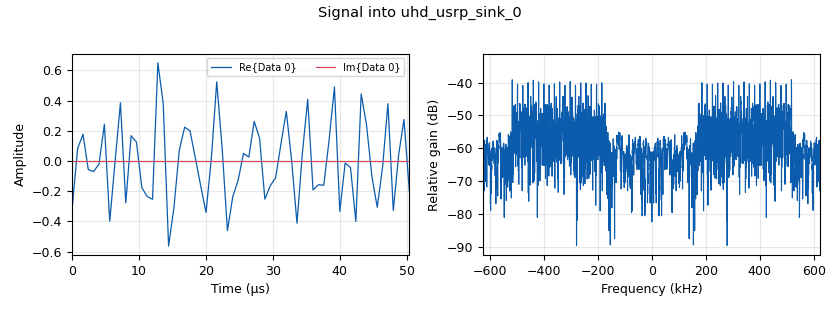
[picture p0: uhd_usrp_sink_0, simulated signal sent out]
options:
  parameters:
    author: keremenhos
    generate_options: qt_gui
    id: OFDM_1
    output_language: python
    title: OFDM_1
  states: {}

blocks:
- name: Data
  id: variable
  parameters:
    value: numpy.array(numpy.random.randint(M,size=(data_sc//2)*spf))
  states: {}
- name: M
  id: variable
  parameters:
    value: '16'
  states: {}
- name: P
  id: variable_qtgui_check_box
  parameters:
    'false': '0'
    label: Print BER
    'true': '1'
    type: int
    value: '0'
  states: {}
- name: TX_GAIN
  id: variable_qtgui_range
  parameters:
    orient: Qt.Horizontal
    start: '1'
    step: '1'
    stop: '100'
    value: '34'
  states: {}
- name: corr_thresh
  id: variable_qtgui_range
  parameters:
    orient: Qt.Horizontal
    start: '0.01'
    step: '0.005'
    stop: '0.1'
    value: '0.04'
  states: {}
- name: data_sc
  id: variable
  parameters:
    value: '36'
  states: {}
- name: dsc
  id: variable
  parameters:
    value: numpy.sort(list(pdsc*-1) + list(pdsc))
  states: {}
- name: fft_len
  id: variable
  parameters:
    value: '128'
  states: {}
- name: guard
  id: variable
  parameters:
    value: fft_len-null-data_sc-pilot_sc
  states: {}
- name: noise
  id: variable_qtgui_range
  parameters:
    gui_hint: 2,2,1,2
    label: Noise Power
    orient: Qt.Horizontal
    start: '-30'
    step: '0.5'
    stop: '10'
    value: '-30'
  states: {state: disabled}
- name: 'null'
  id: variable
  parameters:
    value: '35'
  states: {}
- name: pck_len
  id: variable
  parameters:
    value: '4096'
  states: {}
- name: pdsc
  id: variable
  parameters:
    value: |
      numpy.delete((numpy.arange((data_sc+pilot_sc)//2)+1+(null//2)),((numpy.arange((data_sc+pilot_sc)//2)+1+(null//2))[:, None] == ppsc).argmax(axis=0))
  states: {}
- name: pilot_sc
  id: variable
  parameters:
    value: '36'
  states: {}
- name: pilot_symbols
  id: variable
  parameters:
    value: numpy.array(numpy.random.randint(2,size=pilot_sc//2))*2 -1
  states: {}
- name: ppsc
  id: variable
  parameters:
    value: numpy.arange(-1*((data_sc+pilot_sc)//(pilot_sc*2)),((data_sc+pilot_sc)/2),((data_sc+pilot_sc)/pilot_sc))[numpy.arange(-1*((data_sc+pilot_sc)//(pilot_sc*2)),((data_sc+pilot_sc)/2),((data_sc+pilot_sc)/pilot_sc))>0].astype(int)+1+(null//2)
  states: {}
- name: ps
  id: variable
  parameters:
    value: list(numpy.flip(pilot_symbols)) + list(pilot_symbols)
  states: {}
- name: psc
  id: variable
  parameters:
    value: numpy.sort(list(ppsc*-1) + list(ppsc))
  states: {}
- name: samp_rate
  id: variable
  parameters:
    value: '1250000'
  states: {}
- name: spf
  id: variable
  parameters:
    value: (pck_len-510)//fft_len
  states: {}
- name: blocks_complex_to_float_1
  id: blocks_complex_to_float
  parameters: {}
  states: {}
- name: blocks_complex_to_mag_squared_0
  id: blocks_complex_to_mag_squared
  parameters: {}
  states: {state: disabled}
- name: blocks_float_to_complex_0
  id: blocks_float_to_complex
  parameters: {}
  states: {}
- name: blocks_float_to_complex_1
  id: blocks_float_to_complex
  parameters: {}
  states: {}
- name: blocks_keep_m_in_n_1
  id: blocks_keep_m_in_n
  parameters:
    m: fft_len*spf
    n: pck_len
    offset: '1'
    type: float
  states: {}
- name: blocks_multiply_const_vxx_0
  id: blocks_multiply_const_vxx
  parameters:
    const: 1/TX_GAIN
    type: complex
  states: {}
- name: blocks_stream_to_tagged_stream_0
  id: blocks_stream_to_tagged_stream
  parameters:
    len_tag_key: packet_len
    packet_len: '510'
    type: float
  states: {}
- name: blocks_stream_to_tagged_stream_0_0_0_0_0_0
  id: blocks_stream_to_tagged_stream
  parameters:
    len_tag_key: '"frame_len"'
    packet_len: data_sc
    type: complex
  states: {}
- name: blocks_stream_to_tagged_stream_1
  id: blocks_stream_to_tagged_stream
  parameters:
    len_tag_key: '"packet_len"'
    packet_len: fft_len*spf
    type: complex
  states: {}
- name: blocks_stream_to_tagged_stream_3
  id: blocks_stream_to_tagged_stream
  parameters:
    len_tag_key: sym
    packet_len: '1'
    type: complex
    vlen: fft_len
  states: {}
- name: blocks_stream_to_vector_0_0
  id: blocks_stream_to_vector
  parameters:
    num_items: fft_len
    type: complex
  states: {}
- name: blocks_tag_gate_0
  id: blocks_tag_gate
  parameters:
    propagate_tags: 'False'
    type: float
  states: {}
- name: blocks_tag_gate_1
  id: blocks_tag_gate
  parameters:
    propagate_tags: 'False'
    single_key: '"sym"'
    type: complex
  states: {}
- name: blocks_tagged_stream_mux_1
  id: blocks_tagged_stream_mux
  parameters:
    lengthtagname: packet_len
    ninputs: '2'
    type: complex
  states: {}
- name: blocks_vector_source_x_0_1
  id: blocks_vector_source_x
  parameters:
    repeat: 'True'
    type: float
    vector: '[-1,-1,-1,-1,-1,-1,-1,-1,1,-1,-1,-1,1,-1,-1,-1,1,1,-1,-1,1,-1,-1,-1,1,1,1,-1,1,-1,1,-1,1,1,-1,1,1,-1,-1,-1,1,1,1,-1,-1,-1,1,-1,-1,1,-1,1,-1,1,-1,-1,-1,1,1,-1,1,1,-1,-1,1,1,1,1,1,-1,-1,1,1,1,1,-1,-1,-1,1,-1,1,1,-1,1,1,1,-1,-1,1,-1,1,-1,-1,1,-1,-1,-1,-1,-1,1,-1,-1,1,1,-1,-1,1,1,1,-1,1,-1,-1,-1,1,1,1,1,1,-1,1,1,1,1,-1,-1,-1,-1,-1,1,1,1,1,1,1,1,1,1,-1,-1,-1,-1,1,1,1,1,-1,1,1,1,-1,-1,-1,-1,1,-1,1,1,-1,-1,1,1,-1,1,1,-1,1,1,1,1,-1,1,-1,-1,-1,-1,1,1,1,-1,-1,1,1,-1,-1,-1,-1,1,-1,-1,1,-1,-1,-1,1,-1,1,-1,1,1,1,-1,1,-1,1,1,1,1,-1,-1,1,-1,-1,1,-1,1,1,1,-1,-1,1,1,1,-1,-1,-1,-1,-1,-1,1,1,1,-1,1,1,1,-1,1,-1,-1,1,1,1,1,-1,1,-1,1,-1,-1,1,-1,1,-1,-1,-1,-1,-1,-1,1,-1,1,-1,1,-1,1,-1,1,1,1,1,1,-1,1,-1,1,1,-1,1,-1,-1,-1,-1,-1,1,1,-1,1,1,1,-1,1,1,-1,1,1,-1,1,-1,1,1,-1,-1,-1,-1,-1,1,-1,1,1,1,-1,1,1,1,1,1,-1,-1,-1,1,1,1,1,-1,-1,1,1,-1,1,-1,-1,1,1,-1,1,-1,1,1,1,-1,-1,-1,1,1,-1,1,-1,-1,-1,1,-1,1,1,1,1,1,1,1,-1,1,-1,-1,1,-1,1,1,-1,-1,-1,1,-1,1,-1,-1,1,1,-1,-1,-1,1,1,-1,-1,-1,-1,-1,-1,-1,1,1,-1,-1,1,1,-1,-1,1,-1,1,-1,1,1,-1,-1,1,-1,-1,1,1,1,1,1,1,-1,1,1,-1,1,-1,-1,1,-1,-1,1,-1,-1,1,1,-1,1,1,1,1,1,1,-1,-1,1,-1,1,1,-1,1,-1,1,-1,-1,-1,-1,1,-1,1,-1,-1,-1,1,-1,-1,1,1,1,-1,1,1,-1,-1,1,-1,1,1,1,1,-1,1,1,-1,-1,-1,-1,1,1,-1,1,-1,1,-1,1,-1,-1,1,1,1,-1,-1,1,-1,-1,-1,-1,1,1,-1,-1,-1,1,-1,-1,-1,-1]'
  states: {}
- name: blocks_vector_to_stream_0
  id: blocks_vector_to_stream
  parameters:
    num_items: fft_len
    type: complex
  states: {}
- name: blocks_vector_to_stream_0_0
  id: blocks_vector_to_stream
  parameters:
    num_items: fft_len
    type: complex
  states: {}
- name: digital_corr_est_cc_0
  id: digital_corr_est_cc
  parameters:
    mark_delay: '509'
    sps: '1'
    symbols: '[-1,-1,-1,-1,-1,-1,-1,-1,1,-1,-1,-1,1,-1,-1,-1,1,1,-1,-1,1,-1,-1,-1,1,1,1,-1,1,-1,1,-1,1,1,-1,1,1,-1,-1,-1,1,1,1,-1,-1,-1,1,-1,-1,1,-1,1,-1,1,-1,-1,-1,1,1,-1,1,1,-1,-1,1,1,1,1,1,-1,-1,1,1,1,1,-1,-1,-1,1,-1,1,1,-1,1,1,1,-1,-1,1,-1,1,-1,-1,1,-1,-1,-1,-1,-1,1,-1,-1,1,1,-1,-1,1,1,1,-1,1,-1,-1,-1,1,1,1,1,1,-1,1,1,1,1,-1,-1,-1,-1,-1,1,1,1,1,1,1,1,1,1,-1,-1,-1,-1,1,1,1,1,-1,1,1,1,-1,-1,-1,-1,1,-1,1,1,-1,-1,1,1,-1,1,1,-1,1,1,1,1,-1,1,-1,-1,-1,-1,1,1,1,-1,-1,1,1,-1,-1,-1,-1,1,-1,-1,1,-1,-1,-1,1,-1,1,-1,1,1,1,-1,1,-1,1,1,1,1,-1,-1,1,-1,-1,1,-1,1,1,1,-1,-1,1,1,1,-1,-1,-1,-1,-1,-1,1,1,1,-1,1,1,1,-1,1,-1,-1,1,1,1,1,-1,1,-1,1,-1,-1,1,-1,1,-1,-1,-1,-1,-1,-1,1,-1,1,-1,1,-1,1,-1,1,1,1,1,1,-1,1,-1,1,1,-1,1,-1,-1,-1,-1,-1,1,1,-1,1,1,1,-1,1,1,-1,1,1,-1,1,-1,1,1,-1,-1,-1,-1,-1,1,-1,1,1,1,-1,1,1,1,1,1,-1,-1,-1,1,1,1,1,-1,-1,1,1,-1,1,-1,-1,1,1,-1,1,-1,1,1,1,-1,-1,-1,1,1,-1,1,-1,-1,-1,1,-1,1,1,1,1,1,1,1,-1,1,-1,-1,1,-1,1,1,-1,-1,-1,1,-1,1,-1,-1,1,1,-1,-1,-1,1,1,-1,-1,-1,-1,-1,-1,-1,1,1,-1,-1,1,1,-1,-1,1,-1,1,-1,1,1,-1,-1,1,-1,-1,1,1,1,1,1,1,-1,1,1,-1,1,-1,-1,1,-1,-1,1,-1,-1,1,1,-1,1,1,1,1,1,1,-1,-1,1,-1,1,1,-1,1,-1,1,-1,-1,-1,-1,1,-1,1,-1,-1,-1,1,-1,-1,1,1,1,-1,1,1,-1,-1,1,-1,1,1,1,1,-1,1,1,-1,-1,-1,-1,1,1,-1,1,-1,1,-1,1,-1,-1,1,1,1,-1,-1,1,-1,-1,-1,-1,1,1,-1,-1,-1,1,-1,-1,-1,-1]'
    threshold: corr_thresh
    threshold_method: digital.THRESHOLD_ABSOLUTE
  states: {}
- name: digital_ofdm_carrier_allocator_cvc_0
  id: digital_ofdm_carrier_allocator_cvc
  parameters:
    fft_len: fft_len
    len_tag_key: '"frame_len"'
    occupied_carriers: ((dsc) ,)
    output_is_shifted: 'True'
    pilot_carriers: ((psc),)
    pilot_symbols: ((ps),)
    sync_words: '[]'
  states: {}
- name: epy_block_0
  id: epy_block
  parameters:
    M: M
    _source_code: |
      """
      Embedded Python Blocks:

      Each time this file is saved, GRC will instantiate the first class it finds
      to get ports and parameters of your block. The arguments to __init__  will
      be the parameters. All of them are required to have default values!
      """

      import numpy as np
      import time
      from gnuradio import gr


      class blk(gr.sync_block):  # other base classes are basic_block, decim_block, interp_block
          """Embedded Python Block example - a simple multiply const"""

          def __init__(self, data=[], M=4, data_subcarrier=1, pilot_subcarrier=1, null_subcarrier=1, guard_subcarrier = 1, fft_size = 64, pilot_symbols=[], spf = 1):  # only default arguments here
              """arguments to this function show up as parameters in GRC"""
              gr.sync_block.__init__(
                  self,
                  name='OFDM Frame Generator',   # will show up in GRC
                  in_sig=[],
                  out_sig=[np.complex64]
              )
              self.M = M
              self.c = 0
              self.data = data
              self.data_subcarrier = data_subcarrier
              self.pilot_subcarrier = pilot_subcarrier
              self.null_subcarrier = null_subcarrier
              self.guard_subcarrier = guard_subcarrier
              self.fft_size = fft_size
              self.l = (len(self.data)//((self.data_subcarrier)/2))-1
              self.d = ((self.data_subcarrier+self.pilot_subcarrier)//2)
              self.data_buf = np.zeros(len(self.data), dtype=complex)
              self.pilot_symbols = pilot_symbols
              self.out_buf = np.zeros(len(self.data)*2, dtype=complex)
              self.spf = spf
              self.flg = 0
              self.data2 = self.data
              
          def modulat(self, MO):
              if MO == 2:
                  cons = np.array([-1+0*1j,1+0*1j])
              else:
                  n = np.arange(0,MO)
                  a = np.asarray([x^(x>>1) for x in n])
                  D = np.sqrt(MO).astype(int)
                  a = np.reshape(a,(D,D))
                  a[1::2, :] = a[1::2, ::-1]
                  nGray=np.reshape(a,(MO))
                  x1 = nGray//D
                  y = nGray%D
                  Ay=2*y+1-D
                  Ax=2*x1+1-D
                  cons = Ax+1j*Ay
                  cons = cons/np.max(np.absolute((np.real(cons))))
              return cons

          def work(self, input_items, output_items):
              
              out = output_items[0]
              
              if self.flg == 0:
                  self.flg = 1
                  self.cons = self.modulat(self.M)
                  if len(out)<len(self.data):
                      self.flg = 0
                      print('22222-0000')
                      return 0
                  for x in range(len(self.data)):
                      self.data_buf[x] = self.cons[self.data[x]]
                  for z in range(self.spf*(self.data_subcarrier//2)):
                      self.out_buf[z*self.data_subcarrier:(z+1)*self.data_subcarrier] = list(np.conj(np.flip(self.data_buf[z*self.data_subcarrier//2:(z+1)*self.data_subcarrier//2]))) + list(self.data_buf[z*self.data_subcarrier//2:(z+1)*self.data_subcarrier//2])
      #            print('1111')
      #            print(len(out))
               
              if np.sum(self.data2-self.data) != 0:
                  self.data2 = self.data
                  if len(out)<len(self.data):
                      print('22222')
                      return 0
                  self.data2 = self.data
                  for x in range(len(self.data)):
                      self.data_buf[x] = self.cons[self.data[x]]
                  for z in range(self.spf*(self.data_subcarrier//2)):
                      self.out_buf[z*self.data_subcarrier:(z+1)*self.data_subcarrier] = list(np.conj(np.flip(self.data_buf[z*self.data_subcarrier//2:(z+1)*self.data_subcarrier//2]))) + list(self.data_buf[z*self.data_subcarrier//2:(z+1)*self.data_subcarrier//2])
                  print(self.data2-self.data)
                      

              out[:(len(out)//len(self.out_buf))*len(self.out_buf)] = list(self.out_buf)*(len(out)//len(self.out_buf))
              return (len(out)//len(self.out_buf))*len(self.out_buf)
    data: Data
    data_subcarrier: data_sc
    fft_size: fft_len
    guard_subcarrier: guard
    null_subcarrier: 'null'
    pilot_subcarrier: pilot_sc
    pilot_symbols: pilot_symbols
    spf: spf
  states: {}
- name: epy_block_1
  id: epy_block
  parameters:
    _source_code: |
      import time
      import random
      import numpy as np

      from gnuradio import gr
      from gnuradio import gr_unittest
      from gnuradio import digital
      from gnuradio import blocks
      from gnuradio import grc
      import pmt
      import inspect

      class blk(gr.basic_block):
          def __init__(self, frame_length=1):
              
              gr.basic_block.__init__(
                  self,
                  name="Preamble Demux",
                  in_sig=[np.float32],
                  out_sig=[np.float32]
              )
              self.a = 0
              self.aa = 0
              self.buf = []
              self.off = 0
              self.det = 0
              self.flg2 = 0
              self.b = 0
              self.frame_length = frame_length
              
          def forecast(self, noutput_items, ninput_items_required):
              #setup size of input_items[i] for work call
              for i in range(len(ninput_items_required)):
                  ninput_items_required[i] = 4096
                  
          def general_work(self, input_items, output_items):
              in0 = input_items[0]
              out = output_items[0]
              
              if self.det == 0:
                  tags = self.get_tags_in_window(0, 0, len(in0))
                  for tag in tags:
                      offset = tag.offset
                      key = pmt.to_python(tag.key) # convert from PMT to python string
                      if key == 'corr_est':
                          self.off = offset
                          self.det = 1
                          self.flg2 = 0
                          self.buf.extend(in0[(self.off-self.aa)+1:])
                          break
                  if self.det == 0:
                      self.b = 0
                          
              if len(self.buf)<self.frame_length and self.det == 1 and self.flg2 == 1:
                  self.buf.extend(in0)
              
              if len(self.buf)>=self.frame_length and self.det == 1 and len(out)>=self.frame_length:
                  out[:self.frame_length] = self.buf[:self.frame_length]
                  if len(self.buf) == self.frame_length:
                      self.buf = []
                      self.det = 0
                      self.b = 1
                  else:
                      tags = self.get_tags_in_window(0, 0, len(in0))
                      for tag in tags:
                          self.offset2 = tag.offset
                          key = pmt.to_python(tag.key) # convert from PMT to python string
                          if key == 'corr_est':
                              if self.offset2 == self.off:
                                  self.buf = []
                                  self.det = 0
                                  self.b = 1
                                  break
                              else:
                                  self.off = self.offset2
                                  self.det = 1
                                  self.flg2 = 0
                                  self.buf=[]
                                  self.buf.extend(in0[(self.off-self.aa)+1:])
                                  self.b = 1
                                  break

              self.flg2 = 1
              self.aa = self.aa + len(in0)
              
              self.consume(0, len(in0)) #consume port 0 input
              
              if self.b == 0:
                  return 0
              else:
                  return self.frame_length
    frame_length: pck_len
  states: {}
- name: epy_block_2
  id: epy_block
  parameters:
    M: M
    _source_code: |
      """
      Embedded Python Blocks:

      Each time this file is saved, GRC will instantiate the first class it finds
      to get ports and parameters of your block. The arguments to __init__  will
      be the parameters. All of them are required to have default values!
      """

      import time
      import random
      import numpy as np

      from gnuradio import gr
      from gnuradio import gr_unittest
      from gnuradio import digital
      from gnuradio import blocks
      from gnuradio import grc
      from scipy import interpolate
      import pmt
      import inspect


      class blk(gr.basic_block):  # other base classes are basic_block, decim_block, interp_block
          """Embedded Python Block example - a simple multiply const"""

          def __init__(self, M=4, data_subcarrier=1, pilot_subcarrier=1, null_subcarrier=1, guard_subcarrier = 1, fft_size = 64, pilot_symbols=[], symbols_per_frame=1):  # only default arguments here
              """arguments to this function show up as parameters in GRC"""
              gr.basic_block.__init__(
                  self,
                  name='OFDM Receiver',   # will show up in GRC
                  in_sig=[np.complex64],
                  out_sig=[np.complex64]
              )
              # if an attribute with the same name as a parameter is found,
              # a callback is registered (properties work, too).
              self.M = M
              self.data_sc = data_subcarrier
              self.pilot_sc = pilot_subcarrier
              self.null_sc = null_subcarrier
              self.guard_sc = guard_subcarrier
              self.ffts = fft_size
              self.pilot_sym = pilot_symbols
              self.aa = 0
              self.out_buf = []
              self.data_out_buf = []
              self.sym_n = 0
              self.spf = symbols_per_frame
              self.flg = 0
              self.flg2 = 0
              self.xxx = 0
      #        self.n_sc = (self.data_sc+self.pilot_sc)/2
              self.n_grd = self.guard_sc//2

          def forecast(self, noutput_items, ninput_items_required):
              #setup size of input_items[i] for work call
              for i in range(len(ninput_items_required)):
                  ninput_items_required[i] = 4096
                  
          def pilot_generator(self, psc, pd):
              pp = np.zeros(psc, dtype=complex)
              for i in range(psc):
                  if pd[i] == 1:
                      pp[i] = 1+0*1j
                  else:
                      pp[i] = -1+0*1j
              return pp

          def general_work(self, input_items, output_items):

              in0 = input_items[0][:]
              out = output_items[0][:]
              
              if self.flg2 == 0:
                  self.ppos = np.arange(-1*((self.data_sc+self.pilot_sc)//(self.pilot_sc*2)),((self.data_sc+self.pilot_sc)/2),((self.data_sc+self.pilot_sc)/self.pilot_sc))
                  self.ppos = self.ppos[self.ppos>0].astype(int)
                  self.pilots = self.pilot_generator(self.pilot_sc//2, self.pilot_sym)
                  self.tx_pilot = np.concatenate((np.flip(self.pilots),self.pilots),axis=None)
                  
                  self.alli = np.array(range(self.ffts))
                  self.sc_ind = np.arange((self.n_grd+1),(self.ffts-self.n_grd))
                  self.sc_ind = np.delete(self.sc_ind,(self.sc_ind[:, None] == (np.arange(-self.null_sc//2,self.null_sc//2)+(self.ffts/2)+1)).argmax(axis=0))
                  self.sc_ind[:(np.where(self.sc_ind==((self.ffts/2)-(self.null_sc//2)-1))[0][0])+1]=np.flipud(self.sc_ind[:(np.where(self.sc_ind==((self.ffts/2)-(self.null_sc//2)-1))[0][0])+1])
                  self.alli[:(np.where(self.alli==((self.ffts/2)-1))[0][0])+1]=np.flipud(self.alli[:(np.where(self.alli==((self.ffts/2)-1))[0][0])+1])
                  self.p_ind = np.sort(np.concatenate((self.alli[self.ppos+(self.null_sc//2)],self.alli[((self.ffts//2)+(self.null_sc//2)+1+self.ppos)]),axis=None))
                  self.s_sc_ind = np.sort(self.sc_ind)
                  self.dsc_ind = np.delete(self.s_sc_ind,(self.s_sc_ind[:, None] == self.p_ind).argmax(axis=0))
                  self.flg2 = 1
                  ppp=np.where(self.sc_ind>=self.ffts//2)[0]
                  self.dsc_iii = np.delete(ppp,(ppp[:,None]==(self.ppos+((self.data_sc+self.pilot_sc)//2))).argmax(axis=0))
              
              tags = self.get_tags_in_window(0, 0, len(in0))
              for tag in tags:
                  offset = tag.offset
                  key = pmt.to_python(tag.key) # convert from PMT to python string
                  if key == 'sym':
                      self.offset = offset
                      self.xx = self.p_ind + self.offset - self.aa
      #                if self.xxx == 0:
      #                    print(self.xx)
                      self.ch_est = np.true_divide(in0[self.xx.astype(int)],self.tx_pilot)
                      
                      self.ch_est_r = np.real(self.ch_est)
                      self.ch_est_i = np.imag(self.ch_est)
                      
      #                f_r = interpolate.splrep(self.p_ind,self.ch_est_r,s=0)
      #                f_i = interpolate.splrep(self.p_ind,self.ch_est_i,s=0)
      #                H_r = interpolate.splev((self.s_sc_ind),f_r,der=0)
      #                H_i = interpolate.splev((self.s_sc_ind),f_i,der=0)

                      f_r = interpolate.splrep(self.p_ind,self.ch_est_r,s=0)
                      f_i = interpolate.splrep(self.p_ind,self.ch_est_i,s=0)
                      H_r = interpolate.splev(np.sort(self.alli),f_r,der=0)
                      H_i = interpolate.splev(np.sort(self.alli),f_i,der=0)
                      H = H_r + H_i*1j
                      
      #                f_r = interpolate.interp1d(self.p_ind, self.ch_est_r, kind = 'slinear')
      #                f_i = interpolate.interp1d(self.p_ind, self.ch_est_i, kind = 'slinear')
      #                H_r = f_r(self.s_sc_ind)
      #                H_i = f_i(self.s_sc_ind)
      #                self.H = H_r + H_i*1j

                      if sum(H_r) != 0:
      #                    self.indind = self.s_sc_ind + (self.offset-self.aa)
      #                    self.sym_out = np.multiply(np.multiply((np.multiply(np.conj(self.H),self.H)**(-1)),np.conj(self.H)),in0[self.indind])
      #                    self.data_out_buf.extend(self.sym_out[self.dsc_iii])
                       
                          self.sym_out = np.multiply(np.multiply((np.multiply(np.conj(H),H)**(-1)),np.conj(H)),in0[(self.offset-self.aa):(self.offset-self.aa)+self.ffts])
                          self.out_buf.extend(self.sym_out)
                          self.data_out_buf.extend(self.sym_out[self.dsc_ind[(self.data_sc//2):].astype(int)])
                          
                          self.sym_n += 1
                          if self.flg == 0:
                              self.flg = 1
                              self.index1 = self.offset
                              self.cind = 0
      #                        self.add_item_tag(0, (self.index1), pmt.intern("pck_st"), pmt.intern(str(self.sym_n)))
                          self.add_item_tag(0, (self.index1 + self.cind*(self.data_sc//2)), pmt.intern("Sym#"), pmt.intern(str(self.sym_n)))
                          if self.sym_n == 1:
      #                        print(self.cind)
                              self.add_item_tag(0, (self.index1 + self.cind*(self.data_sc//2)), pmt.intern("pck_st"), pmt.intern(str(self.sym_n)))
                          self.cind += 1
                          if self.sym_n == self.spf:
                              self.sym_n = 0
                      else:
                          self.xxx += 1
      #                    print(self.xxx)
      #                    return 0
                      
              if len(self.data_out_buf)>=len(out):
                  output_items[0][:] = self.data_out_buf[:len(out)]
                  self.data_out_buf = self.data_out_buf[len(out):]
                  self.aa = self.aa + len(in0)
                  self.consume(0, len(in0))
                  return len(out)

              self.aa = self.aa + len(in0)
              self.consume(0, len(in0))
              return 0
    data_subcarrier: data_sc
    fft_size: fft_len
    guard_subcarrier: guard
    null_subcarrier: 'null'
    pilot_subcarrier: pilot_sc
    pilot_symbols: pilot_symbols
    symbols_per_frame: spf
  states: {}
- name: epy_block_3
  id: epy_block
  parameters:
    M: M
    _source_code: |
      import time
      import random
      import numpy as np

      from gnuradio import gr
      from gnuradio import gr_unittest
      from gnuradio import digital
      from gnuradio import blocks
      from gnuradio import grc
      import pmt
      import inspect


      class blk(gr.sync_block):

          def __init__(self, data=[], M=4, display_BER = 0, num_bits = 1000000):
              gr.sync_block.__init__(
                  self,
                  name='BER',
                  in_sig=[np.int16],
                  out_sig=[]
              )
              self.bin_data = data
              self.e = 0
              self.p = 0
              self.buf = []
              self.flg = 0
              self.k = np.sqrt(M)
              self.ber = 1
              self.display_BER = display_BER
              self.num_bits = num_bits

          def work(self, input_items, output_items):
              if self.flg == 1:
                  self.flg = 0
                  self.buf.extend(input_items[0][:len(self.bin_data)-len(self.buf)])
                  self.p += 1
                  for j in range(len(self.bin_data)):
                      self.e += sum(np.array(list(bin(int(self.buf[j])^self.bin_data[j])[2:])).astype('int'))
      #                if self.e != 0 and self.aa < 3:
      #                    print('flg1---------------')
      #                    print(self.e)
      #                    print((self.off-self.nitems_read(0)))
      #                    self.aa += 1
                  
              if self.flg == 0:
                  tags = self.get_tags_in_window(0, 0, len(input_items[0]))
                  for tag in tags:
                      offset = tag.offset
                      key = pmt.to_python(tag.key) # convert from PMT to python string
                      value = pmt.to_python(tag.value)
                      if key == 'pck_st':
                          self.off = offset
                          if (self.off-self.nitems_read(0)) + len(self.bin_data) <= len(input_items[0]):
                              self.p += 1
                              for i in range(len(self.bin_data)):
                                  self.e += sum(np.array(list(bin(int(input_items[0][(self.off-self.nitems_read(0))+i])^self.bin_data[i])[2:])).astype('int'))
                          else:
                              self.buf=[]
                              self.buf.extend(input_items[0][(self.off-self.nitems_read(0)):])
                              self.flg = 1
                              
              if self.p*(self.k*len(self.bin_data)) > self.num_bits:
                  self.ber = self.e/(self.p*(self.k*len(self.bin_data)))
                  self.e = 0
                  self.p = 0
                  if self.display_BER == 1:
                      print(self.ber)

      #        output_items[0][:] = self.ber*np.ones(len(output_items[0]))
              return len(input_items[0])
    data: Data
    display_BER: P
    num_bits: 1e6
  states: {}
- name: epy_block_4
  id: epy_block
  parameters:
    M: M
    _source_code: |
      import time
      import random
      import numpy as np

      from gnuradio import gr
      from gnuradio import gr_unittest
      from gnuradio import digital
      from gnuradio import blocks
      from gnuradio import grc
      import pmt
      import inspect


      class blk(gr.sync_block):  # other base classes are basic_block, decim_block, interp_block

          def __init__(self, M=4):  # only default arguments here
              gr.sync_block.__init__(
                  self,
                  name='QAM Demodulator',   # will show up in GRC
                  in_sig=[np.complex64],
                  out_sig=[np.int16]
              )
              # if an attribute with the same name as a parameter is found,
              # a callback is registered (properties work, too).
              self.flg = 0
              self.M=M

              
          def modulat(self, MO):
              if MO == 2:
                  cons = (np.array([-1+0*1j,1+0*1j]))
              else:
                  n = np.arange(0,MO)
                  a = np.asarray([x^(x>>1) for x in n])
                  D = np.sqrt(MO).astype(int)
                  a = np.reshape(a,(D,D))
                  a[1::2, :] = a[1::2, ::-1]
                  nGray=np.reshape(a,(MO))
                  x1 = nGray//D
                  y = nGray%D
                  Ay=2*y+1-D
                  Ax=2*x1+1-D
                  cons = Ax+1j*Ay
                  cons = cons/np.max(np.absolute((np.real(cons))))
              return cons

          def work(self, input_items, output_items):
              if self.flg == 0:
                  self.dp = self.modulat(self.M)
                  self.flg = 1
              
              tdat = np.transpose(np.tile(input_items[0],(len(self.dp),1)))
              tcons = np.tile(self.dp,(len(input_items[0]),1))

              ll = np.subtract(tdat,tcons)
              min_ind = np.argmin(np.sqrt(np.real(ll)**2 + np.imag(ll)**2),axis=1)
              output_items[0][:] = min_ind.astype('int')
              

              return len(output_items[0])
  states: {}
- name: epy_module_0
  id: epy_module
  parameters:
    source_code: |
      import numpy as np

      np.random.seed(444)
  states: {}
- name: fft_vxx_0
  id: fft_vxx
  parameters:
    fft_size: fft_len
    forward: 'False'
    shift: 'True'
    type: complex
    window: '[]'
  states: {}
- name: fft_vxx_0_0
  id: fft_vxx
  parameters:
    fft_size: fft_len
    forward: 'True'
    shift: 'True'
    type: complex
    window: '[]'
  states: {}
- name: import_0
  id: import
  parameters:
    imports: import math,cmath,numpy, random, time
  states: {}
- name: qtgui_const_sink_x_0
  id: qtgui_const_sink_x
  parameters:
    grid: 'True'
    gui_hint: 0,0,2,2
    size: spf*(data_sc//2)
    tr_tag: '"Sym#"'
    type: complex
  states: {}
- name: qtgui_freq_sink_x_0
  id: qtgui_freq_sink_x
  parameters:
    bw: samp_rate
    fc: '0'
    fftsize: '3584'
    freqhalf: 'False'
    gui_hint: 1,2,1,2
    tr_tag: corr_est
    type: float
    wintype: firdes.WIN_BLACKMAN_hARRIS
  states: {state: disabled}
- name: qtgui_number_sink_0
  id: qtgui_number_sink
  parameters:
    autoscale: 'True'
    graph_type: qtgui.NUM_GRAPH_HORIZ
    type: short
  states: {state: disabled}
- name: qtgui_time_sink_x_0
  id: qtgui_time_sink_x
  parameters:
    size: '128'
    srate: samp_rate
    tr_mode: qtgui.TRIG_MODE_TAG
    tr_tag: pck_st
    type: complex
    ymax: '2'
    ymin: '-2'
  states: {state: disabled}
- name: qtgui_time_sink_x_0_0
  id: qtgui_time_sink_x
  parameters:
    autoscale: 'True'
    size: '512'
    srate: samp_rate
    tr_mode: qtgui.TRIG_MODE_TAG
    tr_tag: corr_est
    type: float
    update_time: '0.01'
    ymax: '160000'
  states: {state: disabled}
- name: uhd_usrp_sink_0
  id: uhd_usrp_sink
  parameters:
    ant0: TX/RX
    center_freq0: '0'
    dev_args: '""'
    gain0: '0'
    len_tag_name: ''
    norm_gain0: 'False'
    samp_rate: samp_rate
    sync: none
    type: fc32
  states: {}
- name: uhd_usrp_source_0
  id: uhd_usrp_source
  parameters:
    ant0: ''
    center_freq0: '0'
    dc_offs_enb0: '""'
    dev_args: '""'
    gain0: '0'
    iq_imbal_enb0: '""'
    norm_gain0: 'False'
    samp_rate: samp_rate
    sync: none
    type: fc32
  states: {}

connections:
- [blocks_complex_to_float_1, '0', epy_block_1, '0']
- [blocks_complex_to_mag_squared_0, '0', qtgui_time_sink_x_0_0, '0']
- [blocks_float_to_complex_0, '0', blocks_tagged_stream_mux_1, '0']
- [blocks_float_to_complex_1, '0', blocks_stream_to_vector_0_0, '0']
- [blocks_keep_m_in_n_1, '0', blocks_tag_gate_0, '0']
- [blocks_keep_m_in_n_1, '0', qtgui_freq_sink_x_0, '0']
- [blocks_multiply_const_vxx_0, '0', blocks_stream_to_tagged_stream_1, '0']
- [blocks_stream_to_tagged_stream_0, '0', blocks_float_to_complex_0, '0']
- [blocks_stream_to_tagged_stream_0_0_0_0_0_0, '0', digital_ofdm_carrier_allocator_cvc_0, '0']
- [blocks_stream_to_tagged_stream_1, '0', blocks_tagged_stream_mux_1, '1']
- [blocks_stream_to_tagged_stream_3, '0', blocks_vector_to_stream_0_0, '0']
- [blocks_stream_to_vector_0_0, '0', fft_vxx_0_0, '0']
- [blocks_tag_gate_0, '0', blocks_float_to_complex_1, '0']
- [blocks_tag_gate_1, '0', epy_block_4, '0']
- [blocks_tag_gate_1, '0', qtgui_const_sink_x_0, '0']
- [blocks_tag_gate_1, '0', qtgui_time_sink_x_0, '0']
- [blocks_tagged_stream_mux_1, '0', uhd_usrp_sink_0, '0']
- [blocks_vector_source_x_0_1, '0', blocks_stream_to_tagged_stream_0, '0']
- [blocks_vector_to_stream_0, '0', blocks_multiply_const_vxx_0, '0']
- [blocks_vector_to_stream_0_0, '0', epy_block_2, '0']
- [digital_corr_est_cc_0, '0', blocks_complex_to_float_1, '0']
- [digital_corr_est_cc_0, '1', blocks_complex_to_mag_squared_0, '0']
- [digital_ofdm_carrier_allocator_cvc_0, '0', fft_vxx_0, '0']
- [epy_block_0, '0', blocks_stream_to_tagged_stream_0_0_0_0_0_0, '0']
- [epy_block_1, '0', blocks_keep_m_in_n_1, '0']
- [epy_block_2, '0', blocks_tag_gate_1, '0']
- [epy_block_4, '0', epy_block_3, '0']
- [epy_block_4, '0', qtgui_number_sink_0, '0']
- [fft_vxx_0, '0', blocks_vector_to_stream_0, '0']
- [fft_vxx_0_0, '0', blocks_stream_to_tagged_stream_3, '0']
- [uhd_usrp_source_0, '0', digital_corr_est_cc_0, '0']

metadata:
  file_format: 1
